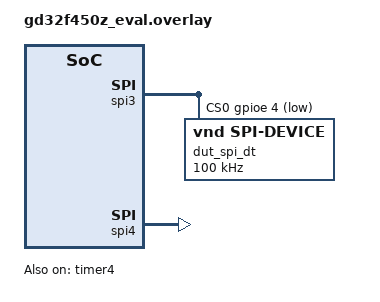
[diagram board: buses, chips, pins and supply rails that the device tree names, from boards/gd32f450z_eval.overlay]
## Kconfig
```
# Copyright (c) 2024 Nordic Semiconductor ASA
# SPDX-License-Identifier: Apache-2.0

config TESTED_SPI_MODE
	int "SPI mode"
	default 0
	help
	  SPI mode value (clock polarity and phase) used in the test.
	  0: CPOL 0 (Active high), CPHA 0 (leading)
	  1: CPOL 0 (Active high), CPHA 1 (trailing)
	  2: CPOL 1 (Active low), CPHA 0 (leading)
	  3: CPOL 1 (Active low), CPHA 1 (trailing)

config TEST_INCORRECT_SCK_STATE
	bool "Incorrect SCK state"
	help
	  Setting this option will set SCK to the opposite state than CPOL just before transceive.

config TESTED_SPI_WORD_SIZE
	int "SPI word size"
	default 8
	range 8 16
	help
		SPI word size used in the test.

config TESTED_SPI_TI_MODE
	bool "Use TI frame format"
	default n
	help
		Enable TI frame format for the test.

config PREALLOC_BUFFERS
	bool "Preallocate buffers"
	default y
	help
	  Preallocate buffers used for transaction
	  using `memory-region` property.

config SPI_CONTROLLER_PERIPHERAL_WORKQUEUE_STACK_SIZE
	int "Test workqueue stack size"
	default 1024
	help
	  Stack size for thread used to perform async API checks

config SPI_CONTROLLER_PERIPHERAL_WORKQUEUE_PRIORITY
	int "Test workqueue priority"
	default 10
	help
	  Priority for the work queue used for async testing

source "Kconfig.zephyr"
```

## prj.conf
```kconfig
CONFIG_SPI=y
CONFIG_SPI_PERIPHERAL=y
CONFIG_GPIO=y
CONFIG_POLL=y
CONFIG_SPI_ASYNC=y
CONFIG_COUNTER=y
CONFIG_ZTEST=y
```

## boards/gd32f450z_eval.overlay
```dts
/*
 * Copyright (c) 2026, Ylhyra ehf.
 * SPDX-License-Identifier: Apache-2.0
 */

&pinctrl {
	spi3_default_alt: spi3_default_alt {
		group1 {
			pinmux = <GD32_PINMUX_AF('E', 2, AF5)>,
				 <GD32_PINMUX_AF('E', 5, AF5)>,
				 <GD32_PINMUX_AF('E', 6, AF5)>;
			slew-rate = "max-speed-50mhz";
		};
	};

	spi4_default_alt: spi4_default_alt {
		group1 {
			pinmux = <GD32_PINMUX_AF('F', 6, AF5)>,
				 <GD32_PINMUX_AF('F', 7, AF5)>,
				 <GD32_PINMUX_AF('F', 8, AF5)>,
				 <GD32_PINMUX_AF('F', 9, AF5)>;
			slew-rate = "max-speed-50mhz";
		};
	};
};

&dac {
	status = "disabled";
};

&usbfs {
	status = "disabled";
};

&usbhs {
	status = "disabled";
};

&gpioe {
	status = "okay";
};

&gpiof {
	status = "okay";
};

&usart0 {
	/delete-property/ dmas;
	/delete-property/ dma-names;
};

&i2c0 {
	status = "disabled";
};

&i2s1 {
	status = "disabled";
};

&mdio {
	status = "disabled";
};

&enet {
	status = "disabled";
};

&sdio {
	status = "disabled";
};

&timer1 {
	status = "disabled";
};

&timer4 {
	status = "okay";
	prescaler = <199>;
};

&spi5 {
	status = "disabled";
};

&spi3 {
	status = "okay";
	pinctrl-0 = <&spi3_default_alt>;
	pinctrl-names = "default";
	cs-gpios = <&gpioe 4 GPIO_ACTIVE_LOW>;

	dut_spi_dt: test-spi-dev@0 {
		compatible = "vnd,spi-device";
		reg = <0>;
		spi-max-frequency = <100000>;
		spi-cs-setup-delay-ns = <50000>;
		spi-cs-hold-delay-ns = <50000>;
	};
};

dut_spis: &spi4 {
	status = "okay";
	pinctrl-0 = <&spi4_default_alt>;
	pinctrl-names = "default";
};
```

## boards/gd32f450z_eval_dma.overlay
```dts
/*
 * Copyright (c) 2026, Ylhyra ehf.
 * SPDX-License-Identifier: Apache-2.0
 */

&i2s1 {
	status = "disabled";
};

&sdio {
	status = "disabled";
};

&spi3 {
	dmas = <&dma1 0 4 0 0>, <&dma1 1 4 0 0>;
	dma-names = "rx", "tx";
};

&spi4 {
	dmas = <&dma1 5 7 0 0>, <&dma1 6 7 0 0>;
	dma-names = "rx", "tx";
};
```

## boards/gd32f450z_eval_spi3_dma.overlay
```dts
/*
 * Copyright (c) 2026, Ylhyra ehf.
 * SPDX-License-Identifier: Apache-2.0
 */

&i2s1 {
	status = "disabled";
};

&sdio {
	status = "disabled";
};

&spi3 {
	/* Keep master RX ahead of TX on DMA1 so incoming data is drained first. */
	dmas = <&dma1 0 4 0x30000 0>, <&dma1 1 4 0x10000 0>;
	dma-names = "rx", "tx";
	/* Let the slave SPI IRQ preempt the master side during loopback tests. */
	interrupts = <84 1>;
};

&spi4 {
	interrupts = <85 0>;
};

&dma1 {
	/* Lower DMA IRQ priority so the slave SPI can service FIFO events first. */
	interrupts = <56 1>, <57 1>, <58 1>, <59 1>,
		     <60 1>, <68 1>, <69 1>, <70 1>;
};
```

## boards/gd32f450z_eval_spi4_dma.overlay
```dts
/*
 * Copyright (c) 2026, Ylhyra ehf.
 * SPDX-License-Identifier: Apache-2.0
 */

&i2s1 {
	status = "disabled";
};

&sdio {
	status = "disabled";
};

&spi4 {
	dmas = <&dma1 5 7 0 0>, <&dma1 6 7 0 0>;
	dma-names = "rx", "tx";
};
```

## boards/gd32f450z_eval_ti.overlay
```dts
/*
 * Copyright (c) 2026, Ylhyra ehf.
 * SPDX-License-Identifier: Apache-2.0
 */

&pinctrl {
	spi3_ti_default_alt: spi3_ti_default_alt {
		group1 {
			pinmux = <GD32_PINMUX_AF('E', 2, AF5)>,
				 <GD32_PINMUX_AF('E', 4, AF5)>,
				 <GD32_PINMUX_AF('E', 5, AF5)>,
				 <GD32_PINMUX_AF('E', 6, AF5)>;
			slew-rate = "max-speed-50mhz";
		};
	};
};

&spi3 {
	/delete-property/ cs-gpios;
	pinctrl-0 = <&spi3_ti_default_alt>;
};
```

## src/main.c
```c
/*
 * Copyright (c) 2024 Nordic Semiconductor ASA
 *
 * SPDX-License-Identifier: Apache-2.0
 */

#include <errno.h>
#include <string.h>
#include <zephyr/kernel.h>
#include <zephyr/drivers/gpio.h>
#include <zephyr/drivers/spi.h>
#include <zephyr/linker/devicetree_regions.h>
#include <zephyr/ztest.h>

#define SPI_WORD_SIZE SPI_WORD_SET(CONFIG_TESTED_SPI_WORD_SIZE)

#if CONFIG_TESTED_SPI_MODE == 0
#define SPI_MODE (SPI_WORD_SIZE | SPI_LINES_SINGLE | SPI_TRANSFER_LSB)
#elif CONFIG_TESTED_SPI_MODE == 1
#define SPI_MODE (SPI_WORD_SIZE | SPI_LINES_SINGLE | SPI_TRANSFER_MSB | SPI_MODE_CPHA)
#elif CONFIG_TESTED_SPI_MODE == 2
#define SPI_MODE (SPI_WORD_SIZE | SPI_LINES_SINGLE | SPI_TRANSFER_LSB | SPI_MODE_CPOL)
#elif CONFIG_TESTED_SPI_MODE == 3
#define SPI_MODE (SPI_WORD_SIZE | SPI_LINES_SINGLE | SPI_TRANSFER_MSB | SPI_MODE_CPHA \
				| SPI_MODE_CPOL)
#endif

#if CONFIG_TESTED_SPI_TI_MODE
#define SPI_FRAME_FORMAT SPI_FRAME_FORMAT_TI
#else
#define SPI_FRAME_FORMAT 0
#endif

#define TESTED_SPI_DFS (CONFIG_TESTED_SPI_WORD_SIZE / 8)

#define SPIM_OP	 (SPI_OP_MODE_CONTROLLER | SPI_MODE | SPI_FRAME_FORMAT)
#define SPIS_OP	 (SPI_OP_MODE_PERIPHERAL | SPI_MODE | SPI_FRAME_FORMAT)

#if CONFIG_TEST_INCORRECT_SCK_STATE && DT_NODE_HAS_PROP(DT_PATH(zephyr_user), sck_gpios)
static const struct gpio_dt_spec sck = GPIO_DT_SPEC_GET(DT_PATH(zephyr_user), sck_gpios);
#endif

static struct spi_dt_spec spim = SPI_DT_SPEC_GET(DT_NODELABEL(dut_spi_dt), SPIM_OP);
static const struct device *spis_dev = DEVICE_DT_GET(DT_NODELABEL(dut_spis));
static const struct spi_config spis_config = {
	.operation = SPIS_OP,
	.peripheral = DT_PROP_OR(DT_PATH(zephyr_user), peripheral_cs, 0),
	.frequency = DT_PROP(DT_NODELABEL(dut_spi_dt), spi_max_frequency),
};

#ifdef CONFIG_SPI_ASYNC
static struct k_poll_signal async_sig = K_POLL_SIGNAL_INITIALIZER(async_sig);
static struct k_poll_event async_evt =
	K_POLL_EVENT_INITIALIZER(K_POLL_TYPE_SIGNAL, K_POLL_MODE_NOTIFY_ONLY, &async_sig);

static struct k_poll_signal async_sig_spim = K_POLL_SIGNAL_INITIALIZER(async_sig_spim);
static struct k_poll_event async_evt_spim =
	K_POLL_EVENT_INITIALIZER(K_POLL_TYPE_SIGNAL, K_POLL_MODE_NOTIFY_ONLY, &async_sig_spim);
#endif

#define MEMORY_SECTION(node)                                                                       \
	COND_CODE_1(IS_ENABLED(CONFIG_PREALLOC_BUFFERS),                                           \
		    (COND_CODE_1(DT_NODE_HAS_PROP(node, memory_regions),                           \
				 (__attribute__((__section__(                                      \
				     LINKER_DT_NODE_REGION_NAME(DT_PHANDLE(node,                   \
									   memory_regions)))))),   \
				 ())),                                                             \
		    ())

static uint8_t spim_buffer[32] MEMORY_SECTION(DT_BUS(DT_NODELABEL(dut_spi_dt)));
static uint8_t spis_buffer[32] MEMORY_SECTION(DT_NODELABEL(dut_spis));

struct test_data {
	struct k_work_delayable test_work;
	struct k_sem sem;
	struct k_sem half_duplex_sem;
	int spim_alloc_idx;
	int spis_alloc_idx;
	struct spi_buf_set sets[4];
	struct spi_buf_set *mtx_set;
	struct spi_buf_set *mrx_set;
	struct spi_buf_set *stx_set;
	struct spi_buf_set *srx_set;
	struct spi_buf bufs[12];
	bool async;
};

static struct test_data tdata;

struct k_work_q spim_spis_work_q;

static K_KERNEL_STACK_DEFINE(spim_spis_work_q_stack,
			CONFIG_SPI_CONTROLLER_PERIPHERAL_WORKQUEUE_STACK_SIZE);

/* Allocate buffer from spim or spis space. */
static uint8_t *buf_alloc(size_t len, bool spim)
{
	int *idx = spim ? &tdata.spim_alloc_idx : &tdata.spis_alloc_idx;
	uint8_t *buf = spim ? spim_buffer : spis_buffer;
	size_t total = spim ? sizeof(spim_buffer) : sizeof(spis_buffer);
	uint8_t *rv;

	if (*idx + len > total) {
		zassert_false(true);

		return NULL;
	}

	rv = &buf[*idx];
	*idx += len;

	return rv;
}

static void work_handler(struct k_work *work)
{
	struct k_work_delayable *dwork = k_work_delayable_from_work(work);
	struct test_data *td = CONTAINER_OF(dwork, struct test_data, test_work);
	int rv;

#if CONFIG_TEST_INCORRECT_SCK_STATE && DT_NODE_HAS_PROP(DT_PATH(zephyr_user), sck_gpios)
	gpio_pin_set_dt(&sck, CONFIG_TESTED_SPI_MODE > 1 ? 0 : 1);
#endif

	if (spim.config.operation & SPI_HALF_DUPLEX) {
		spim.config.operation |= SPI_HOLD_ON_CS;

		rv = spi_write_dt(&spim, td->mtx_set);
		spim.config.operation &= ~SPI_HOLD_ON_CS;
		zassert_equal(rv, 0);

		rv = k_sem_take(&td->half_duplex_sem, K_MSEC(1));
		if (rv) {
			return;
		}

		rv = spi_read_dt(&spim, td->mrx_set);

		if (rv == 0) {
			k_sem_give(&td->sem);
		}
	} else if (!td->async) {
		rv = spi_transceive_dt(&spim, td->mtx_set, td->mrx_set);
		if (rv == 0) {
			k_sem_give(&td->sem);
		}
	}
#ifdef CONFIG_SPI_ASYNC
	else {
		rv = spi_transceive_signal(spim.bus, &spim.config, td->mtx_set, td->mrx_set,
				&async_sig_spim);
		zassert_equal(rv, 0);

		rv = k_poll(&async_evt_spim, 1, K_MSEC(200));
		zassert_false(rv, "one or more events are not ready");

		rv = async_evt_spim.signal->result;
		zassert_equal(rv, 0);

		/* Reinitializing for next call */
		async_evt_spim.signal->signaled = 0U;
		async_evt_spim.state = K_POLL_STATE_NOT_READY;

		k_sem_give(&td->sem);
	}
#endif
}

/** Copies data from buffers in the set to a single buffer which makes it easier
 * to compare transmitted and received data.
 *
 * @param buf Output buffer.
 * @param len Buffer length.
 * @param set Set of buffers.
 *
 * @return Number of bytes copied.
 */
static int cpy_data(uint8_t *buf, size_t len, struct spi_buf_set *set)
{
	int idx = 0;

	for (size_t i = 0; i < set->count; i++) {
		size_t l = set->buffers[i].len;

		if (len - idx >= l) {
			memcpy(&buf[idx], set->buffers[i].buf, l);
			idx += l;
		} else {
			return -1;
		}
	}

	return idx;
}

/** Compare two sets.
 *
 * @param tx_set TX set.
 * @param rx_set RX set.
 * @param same_size True if it is expected to have the same amount of data in both sets.
 *
 * @return 0 if data is the same and other value indicate that check failed.
 */
static int check_buffers(struct spi_buf_set *tx_set, struct spi_buf_set *rx_set, bool same_size)
{
	static uint8_t tx_data[256];
	static uint8_t rx_data[256];
	int rx_len;
	int tx_len;

	if (!tx_set || !rx_set) {
		return 0;
	}

	rx_len = cpy_data(rx_data, sizeof(rx_data), rx_set);
	tx_len = cpy_data(tx_data, sizeof(tx_data), tx_set);
	if (same_size && (rx_len != tx_len)) {
		return -1;
	}

	return memcmp(tx_data, rx_data, rx_len);
}

/** Calculate expected number of received bytes by the SPI peripheral.
 *
 * It is used to check if SPI API call for peripheral SPI device returns correct value.
 * @param tx_set TX set.
 * @param rx_set RX set.
 *
 * @return Expected amount of received bytes.
 */
static int peripheral_rx_len(struct spi_buf_set *tx_set, struct spi_buf_set *rx_set)
{
	size_t tx_len = 0;
	size_t rx_len = 0;

	if (!tx_set || !rx_set) {
		return 0;
	}

	for (size_t i = 0; i < tx_set->count; i++) {
		tx_len += tx_set->buffers[i].len;
	}

	for (size_t i = 0; i < rx_set->count; i++) {
		rx_len += rx_set->buffers[i].len;
	}

	return MIN(rx_len, tx_len) / TESTED_SPI_DFS;
}

/** Generic function which runs the test with sets prepared in the test data structure. */
static void run_test(bool m_same_size, bool s_same_size, bool async)
{
	int rv;
	int periph_rv = 0;
	int srx_len;

	if (spim.config.operation & SPI_HALF_DUPLEX) {
		ztest_test_skip();
		return;
	}

	tdata.async = async;
	rv = k_work_schedule_for_queue(&spim_spis_work_q, &tdata.test_work, K_MSEC(10));
	zassert_equal(rv, 1);

	if (!async) {
		periph_rv = spi_transceive(spis_dev, &spis_config, tdata.stx_set, tdata.srx_set);
		if (periph_rv == -ENOTSUP) {
			ztest_test_skip();
		}
	}
#ifdef CONFIG_SPI_ASYNC
	else {
		rv = spi_transceive_signal(spis_dev, &spis_config, tdata.stx_set, tdata.srx_set,
					   &async_sig);
		if (rv == -ENOTSUP) {
			ztest_test_skip();
		}
		zassert_equal(rv, 0);

		/* Transfer not finished yet */
		rv = k_sem_take(&tdata.sem, K_NO_WAIT);
		zassert_equal(rv, -EBUSY);

		rv = k_poll(&async_evt, 1, K_MSEC(200));
		zassert_false(rv, "one or more events are not ready");

		periph_rv = async_evt.signal->result;

		/* Reinitializing for next call */
		async_evt.signal->signaled = 0U;
		async_evt.state = K_POLL_STATE_NOT_READY;
	}
#endif

	rv = k_sem_take(&tdata.sem, K_MSEC(100));
	zassert_equal(rv, 0);

	srx_len = peripheral_rx_len(tdata.mtx_set, tdata.srx_set);

	zassert_equal(periph_rv, srx_len, "Got: %d but expected:%d", periph_rv, srx_len);

	rv = check_buffers(tdata.mtx_set, tdata.srx_set, m_same_size);
	zassert_equal(rv, 0);

	rv = check_buffers(tdata.stx_set, tdata.mrx_set, s_same_size);
	TC_PRINT("stx check same size? %d is %d\n", s_same_size, rv);
	zassert_equal(rv, 0);
}

/** Basic test where SPI controller and SPI peripheral have RX and TX sets which contains only one
 *  same size buffer.
 */
static void test_basic(bool async)
{
	size_t len = 16;

	for (int i = 0; i < 4; i++) {
		tdata.bufs[i].buf = buf_alloc(len, i < 2);
		tdata.bufs[i].len = len;
		tdata.sets[i].buffers = &tdata.bufs[i];
		tdata.sets[i].count = 1;
	}

	tdata.mtx_set = &tdata.sets[0];
	tdata.mrx_set = &tdata.sets[1];
	tdata.stx_set = &tdata.sets[2];
	tdata.srx_set = &tdata.sets[3];

	run_test(true, true, async);
}

static void setup_basic_transfer(size_t len)
{
	for (int i = 0; i < 4; i++) {
		tdata.bufs[i].buf = buf_alloc(len, i < 2);
		tdata.bufs[i].len = len;
		tdata.sets[i].buffers = &tdata.bufs[i];
		tdata.sets[i].count = 1;
	}

	tdata.mtx_set = &tdata.sets[0];
	tdata.mrx_set = &tdata.sets[1];
	tdata.stx_set = &tdata.sets[2];
	tdata.srx_set = &tdata.sets[3];
}

ZTEST(spi_controller_peripheral, test_basic)
{
	test_basic(false);
}

ZTEST(spi_controller_peripheral, test_basic_async)
{
	if (!IS_ENABLED(CONFIG_SPI_ASYNC)) {
		ztest_test_skip();
	}

	test_basic(true);
}

static void test_basic_back_to_back(bool async)
{
	setup_basic_transfer(8);
	run_test(true, true, async);

	setup_basic_transfer(8);
	run_test(true, true, async);
}

ZTEST(spi_controller_peripheral, test_basic_back_to_back)
{
	test_basic_back_to_back(false);
}

ZTEST(spi_controller_peripheral, test_basic_back_to_back_async)
{
	if (!IS_ENABLED(CONFIG_SPI_ASYNC)) {
		ztest_test_skip();
	}

	test_basic_back_to_back(true);
}

/** Basic test with zero length buffers.
 */
void test_basic_zero_len(bool async)
{
	size_t len = 8;

	/* SPIM */
	tdata.bufs[0].buf = buf_alloc(len, true);
	tdata.bufs[0].len = len;
	tdata.bufs[1].buf = buf_alloc(len, true);
	/* Intentionally len was set to 0 - second buffer "is empty". */
	tdata.bufs[1].len = 0;
	tdata.sets[0].buffers = &tdata.bufs[0];
	tdata.sets[0].count = 2;
	tdata.mtx_set = &tdata.sets[0];

	tdata.bufs[2].buf = buf_alloc(len, true);
	tdata.bufs[2].len = len;
	tdata.bufs[3].buf = buf_alloc(len, true);
	/* Intentionally len was set to 0 - second buffer "is empty". */
	tdata.bufs[3].len = 0;
	tdata.sets[1].buffers = &tdata.bufs[2];
	tdata.sets[1].count = 2;
	tdata.mrx_set = &tdata.sets[1];

	/* SPIS */
	tdata.bufs[4].buf = buf_alloc(len, false);
	tdata.bufs[4].len = len;
	tdata.sets[2].buffers = &tdata.bufs[4];
	tdata.sets[2].count = 1;
	tdata.stx_set = &tdata.sets[2];

	tdata.bufs[6].buf = buf_alloc(len, false);
	tdata.bufs[6].len = len;
	tdata.sets[3].buffers = &tdata.bufs[6];
	tdata.sets[3].count = 1;
	tdata.srx_set = &tdata.sets[3];

	run_test(true, true, async);
}

ZTEST(spi_controller_peripheral, test_basic_zero_len)
{
	test_basic_zero_len(false);
}

ZTEST(spi_controller_peripheral, test_basic_zero_len_async)
{
	if (!IS_ENABLED(CONFIG_SPI_ASYNC)) {
		ztest_test_skip();
	}

	test_basic_zero_len(true);
}

static void test_zero_len_in_middle(bool async)
{
	size_t len1 = 4 * TESTED_SPI_DFS;
	size_t len2 = 3 * TESTED_SPI_DFS;

	tdata.bufs[0].buf = buf_alloc(len1, true);
	tdata.bufs[0].len = len1;
	tdata.bufs[1].buf = buf_alloc(TESTED_SPI_DFS, true);
	tdata.bufs[1].len = 0;
	tdata.bufs[2].buf = buf_alloc(len2, true);
	tdata.bufs[2].len = len2;
	tdata.sets[0].buffers = &tdata.bufs[0];
	tdata.sets[0].count = 3;
	tdata.mtx_set = &tdata.sets[0];

	tdata.bufs[3].buf = buf_alloc(len1, true);
	tdata.bufs[3].len = len1;
	tdata.bufs[4].buf = buf_alloc(TESTED_SPI_DFS, true);
	tdata.bufs[4].len = 0;
	tdata.bufs[5].buf = buf_alloc(len2, true);
	tdata.bufs[5].len = len2;
	tdata.sets[1].buffers = &tdata.bufs[3];
	tdata.sets[1].count = 3;
	tdata.mrx_set = &tdata.sets[1];

	tdata.bufs[6].buf = buf_alloc(len1, false);
	tdata.bufs[6].len = len1;
	tdata.bufs[7].buf = buf_alloc(TESTED_SPI_DFS, false);
	tdata.bufs[7].len = 0;
	tdata.bufs[8].buf = buf_alloc(len2, false);
	tdata.bufs[8].len = len2;
	tdata.sets[2].buffers = &tdata.bufs[6];
	tdata.sets[2].count = 3;
	tdata.stx_set = &tdata.sets[2];

	tdata.bufs[9].buf = buf_alloc(len1, false);
	tdata.bufs[9].len = len1;
	tdata.bufs[10].buf = buf_alloc(TESTED_SPI_DFS, false);
	tdata.bufs[10].len = 0;
	tdata.bufs[11].buf = buf_alloc(len2, false);
	tdata.bufs[11].len = len2;
	tdata.sets[3].buffers = &tdata.bufs[9];
	tdata.sets[3].count = 3;
	tdata.srx_set = &tdata.sets[3];

	run_test(true, true, async);
}

ZTEST(spi_controller_peripheral, test_zero_len_in_middle)
{
	test_zero_len_in_middle(false);
}

ZTEST(spi_controller_peripheral, test_zero_len_in_middle_async)
{
	if (!IS_ENABLED(CONFIG_SPI_ASYNC)) {
		ztest_test_skip();
	}

	test_zero_len_in_middle(true);
}

/** Setup a transfer where RX buffer on SPI controller and SPI peripheral are
 *  shorter than TX buffers. RX buffers shall contain beginning of TX data
 *  and last TX bytes that did not fit in the RX buffers shall be lost.
 */
static void test_short_rx(bool async)
{
	size_t len = 16;

	tdata.bufs[0].buf = buf_alloc(len, true);
	tdata.bufs[0].len = len;
	tdata.bufs[1].buf = buf_alloc(len, true);
	tdata.bufs[1].len = len - (3 * TESTED_SPI_DFS); /* RX buffer */
	tdata.bufs[2].buf = buf_alloc(len, false);
	tdata.bufs[2].len = len;
	tdata.bufs[3].buf = buf_alloc(len, false);
	tdata.bufs[3].len = len - (4 * TESTED_SPI_DFS); /* RX buffer */

	for (int i = 0; i < 4; i++) {
		tdata.sets[i].buffers = &tdata.bufs[i];
		tdata.sets[i].count = 1;
	}

	tdata.mtx_set = &tdata.sets[0];
	tdata.mrx_set = &tdata.sets[1];
	tdata.stx_set = &tdata.sets[2];
	tdata.srx_set = &tdata.sets[3];

	run_test(false, false, async);
}

ZTEST(spi_controller_peripheral, test_short_rx)
{
	test_short_rx(false);
}

ZTEST(spi_controller_peripheral, test_short_rx_async)
{
	if (!IS_ENABLED(CONFIG_SPI_ASYNC)) {
		ztest_test_skip();
	}

	test_short_rx(true);
}

/** Test where only controller transmits. */
static void test_only_tx(bool async)
{
	size_t len = 16;

	/* MTX buffer */
	tdata.bufs[0].buf = buf_alloc(len, true);
	tdata.bufs[0].len = len;
	tdata.sets[0].buffers = &tdata.bufs[0];
	tdata.sets[0].count = 1;
	tdata.mtx_set = &tdata.sets[0];
	tdata.mrx_set = NULL;

	/* STX buffer */
	tdata.bufs[1].buf = buf_alloc(len, false);
	tdata.bufs[1].len = len;
	tdata.sets[1].buffers = &tdata.bufs[1];
	tdata.sets[1].count = 1;
	tdata.srx_set = &tdata.sets[1];
	tdata.stx_set = NULL;

	run_test(true, true, async);
}

ZTEST(spi_controller_peripheral, test_only_tx)
{
	test_only_tx(false);
}

ZTEST(spi_controller_peripheral, test_only_tx_async)
{
	if (!IS_ENABLED(CONFIG_SPI_ASYNC)) {
		ztest_test_skip();
	}

	test_only_tx(true);
}

/** Test where only SPI controller transmits and SPI peripheral receives in chunks. */
static void test_only_tx_in_chunks(bool async)
{
	size_t len1 = 7 * TESTED_SPI_DFS;
	size_t len2 = 8 * TESTED_SPI_DFS;

	/* MTX buffer */
	tdata.bufs[0].buf = buf_alloc(len1 + len2, true);
	tdata.bufs[0].len = len1 + len2;
	tdata.sets[0].buffers = &tdata.bufs[0];
	tdata.sets[0].count = 1;
	tdata.mtx_set = &tdata.sets[0];
	tdata.mrx_set = NULL;

	/* STX buffer */
	tdata.bufs[1].buf = buf_alloc(len1, false);
	tdata.bufs[1].len = len1;
	tdata.bufs[2].buf = buf_alloc(len2, false);
	tdata.bufs[2].len = len2;
	tdata.sets[1].buffers = &tdata.bufs[1];
	tdata.sets[1].count = 2;
	tdata.srx_set = &tdata.sets[1];
	tdata.stx_set = NULL;

	run_test(true, true, async);
}

ZTEST(spi_controller_peripheral, test_only_tx_in_chunks)
{
	test_only_tx_in_chunks(false);
}

ZTEST(spi_controller_peripheral, test_only_tx_in_chunks_async)
{
	if (!IS_ENABLED(CONFIG_SPI_ASYNC)) {
		ztest_test_skip();
	}

	test_only_tx_in_chunks(true);
}

/** Test where only SPI peripheral transmits. */
static void test_only_rx(bool async)
{
	size_t len = 16;

	/* MTX buffer */
	tdata.bufs[0].buf = buf_alloc(len, true);
	tdata.bufs[0].len = len;
	tdata.sets[0].buffers = &tdata.bufs[0];
	tdata.sets[0].count = 1;
	tdata.mrx_set = &tdata.sets[0];
	tdata.mtx_set = NULL;

	/* STX buffer */
	tdata.bufs[1].buf = buf_alloc(len, false);
	tdata.bufs[1].len = len;
	tdata.sets[1].buffers = &tdata.bufs[1];
	tdata.sets[1].count = 1;
	tdata.stx_set = &tdata.sets[1];
	tdata.srx_set = NULL;

	run_test(true, true, async);
}

ZTEST(spi_controller_peripheral, test_only_rx)
{
	test_only_rx(false);
}

ZTEST(spi_controller_peripheral, test_only_rx_async)
{
	if (!IS_ENABLED(CONFIG_SPI_ASYNC)) {
		ztest_test_skip();
	}

	test_only_rx(true);
}

/** Test where only SPI peripheral transmits in chunks. */
static void test_only_rx_in_chunks(bool async)
{
	size_t len1 = 7 * TESTED_SPI_DFS;
	size_t len2 = 9 * TESTED_SPI_DFS;

	/* MTX buffer */
	tdata.bufs[0].buf = buf_alloc(len1 + len2, true);
	tdata.bufs[0].len = len1 + len2;
	tdata.sets[0].buffers = &tdata.bufs[0];
	tdata.sets[0].count = 1;
	tdata.mrx_set = &tdata.sets[0];
	tdata.mtx_set = NULL;

	/* STX buffer */
	tdata.bufs[1].buf = buf_alloc(len1, false);
	tdata.bufs[1].len = len1;
	tdata.bufs[2].buf = buf_alloc(len2, false);
	tdata.bufs[2].len = len2;
	tdata.sets[1].buffers = &tdata.bufs[1];
	tdata.sets[1].count = 2;
	tdata.stx_set = &tdata.sets[1];
	tdata.srx_set = NULL;

	run_test(true, true, async);
}

ZTEST(spi_controller_peripheral, test_only_rx_in_chunks)
{
	test_only_rx_in_chunks(false);
}

ZTEST(spi_controller_peripheral, test_only_rx_in_chunks_async)
{
	if (!IS_ENABLED(CONFIG_SPI_ASYNC)) {
		ztest_test_skip();
	}

	test_only_rx_in_chunks(true);
}

static void run_half_duplex_test(int len)
{
	int rv;
	int periph_rv;
	struct spi_config spis_half_duplex_config = spis_config;

	if (!(spim.config.operation & SPI_HALF_DUPLEX)) {
		ztest_test_skip();
		return;
	}

	spis_half_duplex_config.operation |= (SPI_HOLD_ON_CS | SPI_HALF_DUPLEX);

	tdata.async = false;
	rv = k_work_schedule_for_queue(&spim_spis_work_q, &tdata.test_work, K_MSEC(10));
	zassert_equal(rv, 1);

	periph_rv = spi_read(spis_dev, &spis_half_duplex_config, tdata.srx_set);

	TC_PRINT("Read %d\n", periph_rv);

	if (periph_rv == -ENOTSUP) {
		ztest_test_skip();
		return;
	}

	zassert_equal(periph_rv, len);

	k_sem_give(&tdata.half_duplex_sem);

	TC_PRINT("WRITING!\n");

	periph_rv = spi_write(spis_dev, &spis_half_duplex_config, tdata.stx_set);

	TC_PRINT("Write %d\n", periph_rv);

	if (periph_rv == -ENOTSUP) {
		ztest_test_skip();
		return;
	}

	rv = k_sem_take(&tdata.sem, K_MSEC(100));
	zassert_equal(rv, 0);

	zassert_equal(periph_rv, 0);

	rv = check_buffers(tdata.mtx_set, tdata.srx_set, true);
	zassert_equal(rv, 0);

	rv = check_buffers(tdata.stx_set, tdata.mrx_set, true);
	zassert_equal(rv, 0);

}

ZTEST(spi_controller_peripheral, test_half_duplex)
{
	size_t len = 16;

	for (int i = 0; i < 4; i++) {
		tdata.bufs[i].buf = buf_alloc(len, i < 2);
		tdata.bufs[i].len = len;
		tdata.sets[i].buffers = &tdata.bufs[i];
		tdata.sets[i].count = 1;
	}

	tdata.mtx_set = &tdata.sets[0];
	tdata.mrx_set = &tdata.sets[1];
	tdata.stx_set = &tdata.sets[2];
	tdata.srx_set = &tdata.sets[3];

	run_half_duplex_test(len);
}

static void setup_split_buffer(uint8_t len)
{
	tdata.bufs[0].buf = buf_alloc(len / 2, true);
	tdata.bufs[0].len = len / 2;
	tdata.bufs[1].buf = buf_alloc(len / 2, true);
	tdata.bufs[1].len = len / 2;
	tdata.bufs[2].buf = buf_alloc(len, true);
	tdata.bufs[2].len = len;
	tdata.bufs[3].buf = buf_alloc(len, false);
	tdata.bufs[3].len = len;
	tdata.bufs[4].buf = buf_alloc(len, false);
	tdata.bufs[4].len = len;

	tdata.sets[0].buffers = &tdata.bufs[0];
	tdata.sets[0].count = 2;

	for (int i = 1; i < 4; i++) {
		tdata.sets[i].buffers = &tdata.bufs[i+1];
		tdata.sets[i].count = 1;
	}
}

ZTEST(spi_controller_peripheral, test_half_duplex_split_controller_tx_buffers)
{
	size_t len = 16;

	setup_split_buffer(len);

	tdata.mtx_set = &tdata.sets[0];
	tdata.mrx_set = &tdata.sets[1];
	tdata.stx_set = &tdata.sets[2];
	tdata.srx_set = &tdata.sets[3];

	run_half_duplex_test(len);
}

ZTEST(spi_controller_peripheral, test_half_duplex_split_controller_rx_buffers)
{
	size_t len = 16;

	setup_split_buffer(len);

	tdata.mtx_set = &tdata.sets[1];
	tdata.mrx_set = &tdata.sets[0];
	tdata.stx_set = &tdata.sets[2];
	tdata.srx_set = &tdata.sets[3];

	run_half_duplex_test(len);
}


ZTEST(spi_controller_peripheral, test_half_duplex_split_peripheral_tx_buffers)
{
	size_t len = 16;

	setup_split_buffer(len);

	tdata.mtx_set = &tdata.sets[1];
	tdata.mrx_set = &tdata.sets[2];
	tdata.stx_set = &tdata.sets[0];
	tdata.srx_set = &tdata.sets[3];

	run_half_duplex_test(len);
}

ZTEST(spi_controller_peripheral, test_half_duplex_split_peripheral_rx_buffers)
{
	size_t len = 16;

	setup_split_buffer(len);

	tdata.mtx_set = &tdata.sets[1];
	tdata.mrx_set = &tdata.sets[2];
	tdata.stx_set = &tdata.sets[3];
	tdata.srx_set = &tdata.sets[0];

	run_half_duplex_test(len);
}

static void before(void *not_used)
{
	ARG_UNUSED(not_used);

#if CONFIG_TEST_INCORRECT_SCK_STATE && !DT_NODE_HAS_PROP(DT_PATH(zephyr_user), sck_gpios)
	ztest_test_skip();
#endif

	memset(&tdata, 0, sizeof(tdata));
	for (size_t i = 0; i < sizeof(spim_buffer); i++) {
		spim_buffer[i] = (uint8_t)i;
	}
	for (size_t i = 0; i < sizeof(spis_buffer); i++) {
		spis_buffer[i] = (uint8_t)(i + 0x80);
	}

	k_work_init_delayable(&tdata.test_work, work_handler);
	k_sem_init(&tdata.sem, 0, 1);
	k_sem_init(&tdata.half_duplex_sem, 0, 1);
}

static void after(void *not_used)
{
	ARG_UNUSED(not_used);

	k_work_cancel_delayable(&tdata.test_work);
}

static void *suite_setup(void)
{
	struct k_work_queue_config cfg = {
		.name = "spim_spis_work",
		.no_yield = false,
	};

	k_work_queue_start(&spim_spis_work_q,
			   spim_spis_work_q_stack,
			   K_KERNEL_STACK_SIZEOF(spim_spis_work_q_stack),
			   CONFIG_SPI_CONTROLLER_PERIPHERAL_WORKQUEUE_PRIORITY, &cfg);

	return NULL;
}

ZTEST_SUITE(spi_controller_peripheral, NULL, suite_setup, before, after, NULL);
```
